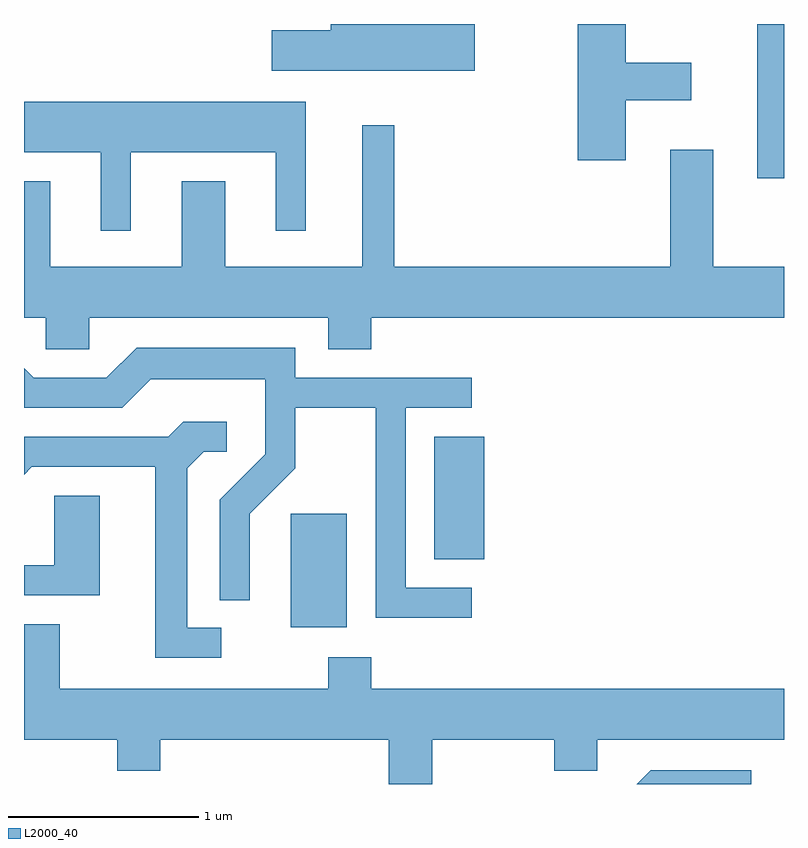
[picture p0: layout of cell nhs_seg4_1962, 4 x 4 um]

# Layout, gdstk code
import gdstk
lib = gdstk.Library(unit=1e-6, precision=1e-09)
def R(c, l, rs):  # rectangles x0, y0, x1, y1
    for r in rs: c.add(gdstk.rectangle(r[:2], r[2:], *l))
def P(c, l, *ps):  # polygons
    for p in ps: c.add(gdstk.Polygon(p, *l))
L2000_40 = (2000, 40)

nhs_seg4_1962 = lib.new_cell('nhs_seg4_1962')
R(nhs_seg4_1962, L2000_40, [(243.016,1370.806,243.309,1371.404), (243.771,1371.166,244.034,1371.809), (245.471,1373.171,245.611,1373.982)])
P(nhs_seg4_1962, L2000_40, [(244.779,1373.581),(245.124,1373.581),(245.124,1373.779),(244.779,1373.779),(244.779,1373.982),(244.526,1373.982),(244.526,1373.266),(244.779,1373.266)],
  [(243.984,1373.982),(243.226,1373.982),(243.226,1373.949),(242.916,1373.949),(242.916,1373.736),(243.984,1373.736)],
  [(242.174,1373.306),(242.936,1373.306),(242.936,1372.893),(243.094,1372.893),(243.094,1373.574),(241.611,1373.574),(241.611,1373.306),(242.016,1373.306),(242.016,1372.893),(242.174,1372.893)],
  [(241.954,1372.436),(243.211,1372.436),(243.211,1372.271),(243.439,1372.271),(243.439,1372.436),(245.611,1372.436),(245.611,1372.704),(245.239,1372.704),(245.239,1373.319),(245.011,1373.319),(245.011,1372.704),(243.559,1372.704),(243.559,1373.448),(243.391,1373.448),(243.391,1372.704),(242.669,1372.704),(242.669,1373.154),(242.441,1373.154),(242.441,1372.704),(241.749,1372.704),(241.749,1373.154),(241.611,1373.154),(241.611,1372.436),(241.726,1372.436),(241.726,1372.271),(241.954,1372.271)],
  [(243.968,1371.014),(243.619,1371.014),(243.619,1371.961),(243.968,1371.961),(243.968,1372.119),(243.039,1372.119),(243.039,1372.279),(242.204,1372.279),(242.044,1372.119),(241.662,1372.119),(241.611,1372.17),(241.611,1371.961),(242.127,1371.961),(242.277,1372.111),(242.881,1372.111),(242.881,1371.717),(242.641,1371.477),(242.641,1370.948),(242.799,1370.948),(242.799,1371.404),(243.039,1371.644),(243.039,1371.961),(243.461,1371.961),(243.461,1370.856),(243.968,1370.856)],
  [(242.648,1370.804),(242.469,1370.804),(242.469,1371.644),(242.557,1371.731),(242.678,1371.731),(242.678,1371.889),(242.449,1371.889),(242.369,1371.809),(241.611,1371.809),(241.611,1371.61),(241.652,1371.651),(242.301,1371.651),(242.301,1370.646),(242.648,1370.646)],
  [(242.009,1371.499),(241.771,1371.499),(241.771,1371.134),(241.611,1371.134),(241.611,1370.976),(242.009,1370.976)],
  [(243.759,1370.216),(244.401,1370.216),(244.401,1370.051),(244.629,1370.051),(244.629,1370.216),(245.611,1370.216),(245.611,1370.484),(243.439,1370.484),(243.439,1370.649),(243.211,1370.649),(243.211,1370.484),(241.799,1370.484),(241.799,1370.824),(241.611,1370.824),(241.611,1370.216),(242.101,1370.216),(242.101,1370.051),(242.329,1370.051),(242.329,1370.216),(243.531,1370.216),(243.531,1369.982),(243.759,1369.982)],
  [(245.438,1370.054),(244.909,1370.054),(244.837,1369.982),(245.438,1369.982)])

lib.write_gds('nhs_seg4_1962.gds')
